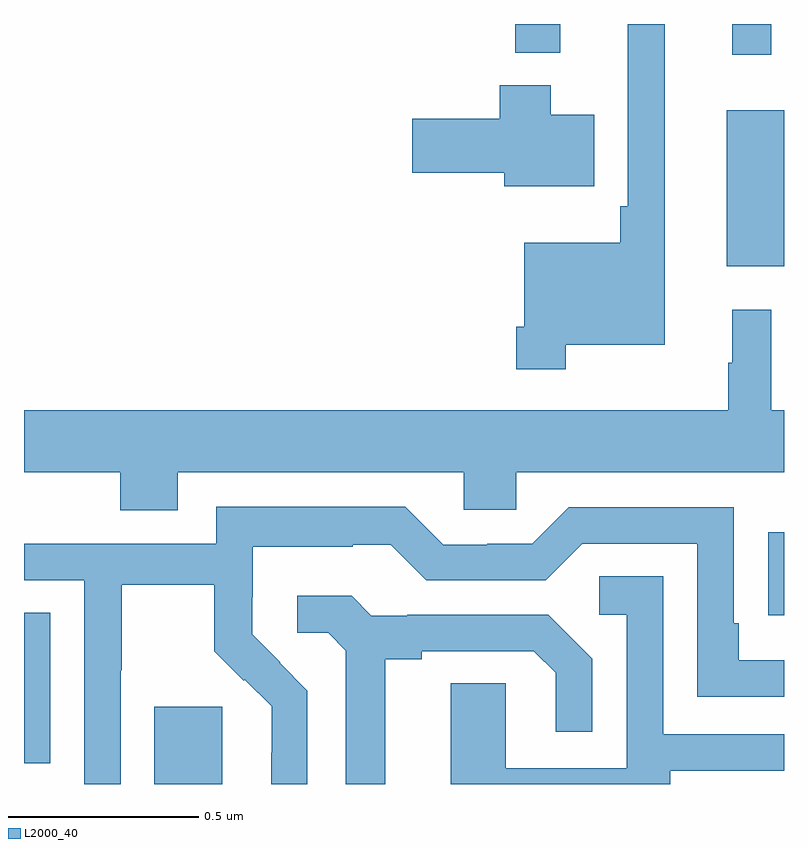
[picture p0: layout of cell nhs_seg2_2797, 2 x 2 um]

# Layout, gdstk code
import gdstk
lib = gdstk.Library(unit=1e-6, precision=1e-09)
def R(c, l, rs):  # rectangles x0, y0, x1, y1
    for r in rs: c.add(gdstk.rectangle(r[:2], r[2:], *l))
def P(c, l, *ps):  # polygons
    for p in ps: c.add(gdstk.Polygon(p, *l))
L2000_40 = (2000, 40)

nhs_seg2_2797 = lib.new_cell('nhs_seg2_2797')
R(nhs_seg2_2797, L2000_40, [(145.343,662.8,145.522,663.003), (145,662.854,145.069,663.251), (146.959,663.244,147,663.463), (146.849,664.163,147,664.573), (146.864,664.719,146.966,664.8), (146.293,664.724,146.411,664.8)])
P(nhs_seg2_2797, L2000_40, [(146.425,663.956),(146.686,663.956),(146.686,664.8),(146.589,664.8),(146.589,664.321),(146.569,664.321),(146.569,664.225),(146.316,664.225),(146.316,664.003),(146.296,664.003),(146.296,663.891),(146.425,663.891)],
  [(146.5,664.561),(146.386,664.561),(146.386,664.639),(146.252,664.639),(146.252,664.551),(146.022,664.551),(146.022,664.409),(146.264,664.409),(146.264,664.373),(146.5,664.373)],
  [(145.405,663.62),(146.157,663.62),(146.157,663.522),(146.295,663.522),(146.295,663.62),(147,663.62),(147,663.784),(146.966,663.784),(146.966,664.048),(146.864,664.048),(146.864,663.908),(146.853,663.908),(146.853,663.784),(145,663.784),(145,663.62),(145.253,663.62),(145.253,663.521),(145.405,663.521)],
  [(145.254,663.1),(145.257,663.1),(145.257,663.324),(145.501,663.324),(145.501,663.149),(145.578,663.072),(145.581,663.075),(145.652,663.005),(145.652,662.882),(145.65,662.882),(145.65,662.8),(145.746,662.8),(145.746,663.046),(145.673,663.119),(145.674,663.12),(145.6,663.194),(145.6,663.291),(145.602,663.291),(145.602,663.425),(145.865,663.425),(145.865,663.429),(145.965,663.429),(146.058,663.336),(146.373,663.336),(146.469,663.432),(146.772,663.432),(146.772,663.03),(147,663.03),(147,663.126),(146.881,663.126),(146.881,663.223),(146.868,663.223),(146.868,663.528),(146.433,663.528),(146.337,663.432),(146.219,663.432),(146.219,663.429),(146.103,663.429),(146.003,663.529),(145.506,663.529),(145.506,663.432),(145,663.432),(145,663.336),(145.158,663.336),(145.158,662.8),(145.254,662.8)],
  [(146.701,662.835),(147,662.835),(147,662.931),(146.682,662.931),(146.682,663.347),(146.514,663.347),(146.514,663.246),(146.586,663.246),(146.586,662.841),(146.268,662.841),(146.268,663.065),(146.123,663.065),(146.123,662.8),(146.701,662.8)],
  [(145.951,663.128),(146.047,663.128),(146.047,663.15),(146.342,663.15),(146.399,663.093),(146.399,662.937),(146.496,662.937),(146.496,663.13),(146.38,663.246),(146.008,663.246),(146.008,663.243),(145.914,663.243),(145.862,663.295),(145.719,663.295),(145.719,663.198),(145.8,663.198),(145.847,663.151),(145.847,662.8),(145.951,662.8)])

lib.write_gds('nhs_seg2_2797.gds')
